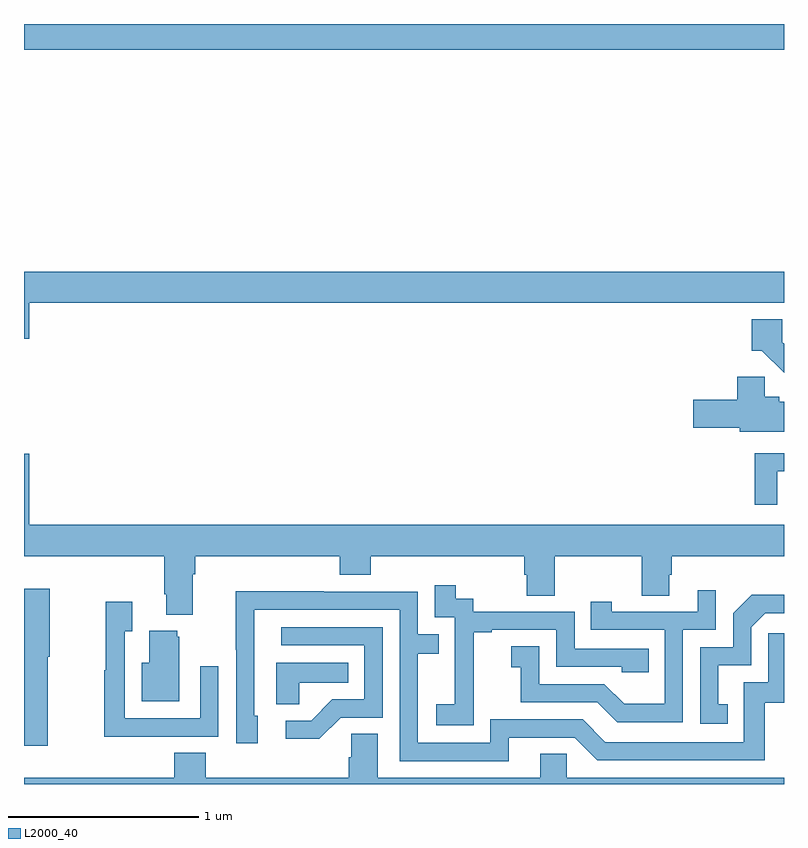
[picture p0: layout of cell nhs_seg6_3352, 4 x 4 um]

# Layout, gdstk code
import gdstk
lib = gdstk.Library(unit=1e-6, precision=1e-09)
def R(c, l, rs):  # rectangles x0, y0, x1, y1
    for r in rs: c.add(gdstk.rectangle(r[:2], r[2:], *l))
def P(c, l, *ps):  # polygons
    for p in ps: c.add(gdstk.Polygon(p, *l))
L2000_40 = (2000, 40)

nhs_seg6_3352 = lib.new_cell('nhs_seg6_3352')
R(nhs_seg6_3352, L2000_40, [(309,919.364,313,919.5)])
P(nhs_seg6_3352, L2000_40, [(309.028,918.032),(313,918.032),(313,918.196),(309,918.196),(309,917.844),(309.028,917.844)],
  [(313,917.816),(312.99,917.826),(312.99,917.947),(312.83,917.947),(312.83,917.78),(312.883,917.78),(313,917.664)],
  [(313,917.511),(312.975,917.511),(312.975,917.538),(312.899,917.538),(312.899,917.643),(312.755,917.643),(312.755,917.522),(312.522,917.522),(312.522,917.375),(312.767,917.375),(312.767,917.354),(313,917.354)],
  [(312.964,917.145),(313,917.145),(313,917.241),(312.847,917.241),(312.847,916.971),(312.964,916.971)],
  [(309.889,916.604),(309.902,916.604),(309.902,916.7),(310.661,916.7),(310.661,916.601),(310.826,916.601),(310.826,916.7),(311.633,916.7),(311.633,916.602),(311.645,916.602),(311.645,916.492),(311.793,916.492),(311.793,916.7),(312.25,916.7),(312.25,916.492),(312.397,916.492),(312.397,916.602),(312.41,916.602),(312.41,916.7),(313,916.7),(313,916.864),(309.028,916.864),(309.028,917.239),(309,917.239),(309,916.7),(309.737,916.7),(309.737,916.498),(309.749,916.498),(309.749,916.391),(309.889,916.391)],
  [(311.367,916.015),(311.366,916.015),(311.366,916.299),(311.461,916.299),(311.461,916.311),(311.802,916.311),(311.802,916.116),(312.147,916.116),(312.147,916.089),(312.287,916.089),(312.287,916.212),(311.898,916.212),(311.898,916.407),(311.364,916.407),(311.364,916.476),(311.272,916.476),(311.272,916.546),(311.163,916.546),(311.163,916.377),(311.268,916.377),(311.268,916.148),(311.267,916.148),(311.267,915.919),(311.169,915.919),(311.169,915.809),(311.367,915.809)],
  [(309.126,916.17),(309.136,916.17),(309.136,916.528),(309,916.528),(309,915.702),(309.126,915.702)],
  [(312.468,916.311),(312.642,916.311),(312.642,916.519),(312.545,916.519),(312.545,916.407),(312.094,916.407),(312.094,916.459),(311.983,916.459),(311.983,916.311),(312.372,916.311),(312.372,915.922),(312.158,915.922),(312.054,916.026),(311.712,916.026),(311.712,916.225),(311.565,916.225),(311.565,916.115),(311.614,916.115),(311.614,915.93),(312.017,915.93),(312.122,915.825),(312.468,915.825)],
  [(311.551,915.744),(311.898,915.744),(312.018,915.624),(312.898,915.624),(312.898,915.927),(313,915.927),(313,916.294),(312.918,916.294),(312.918,916.035),(312.789,916.035),(312.789,915.72),(312.06,915.72),(311.94,915.84),(311.454,915.84),(311.454,915.717),(311.073,915.717),(311.073,916.186),(311.183,916.186),(311.183,916.287),(311.073,916.287),(311.073,916.512),(310.577,916.512),(310.577,916.514),(310.114,916.514),(310.114,916.207),(310.116,916.207),(310.116,915.714),(310.231,915.714),(310.231,915.858),(310.212,915.858),(310.212,916.416),(310.977,916.416),(310.977,915.621),(311.551,915.621)],
  [(312.704,915.921),(312.655,915.921),(312.655,916.125),(312.828,916.125),(312.828,916.326),(312.9,916.398),(313,916.398),(313,916.496),(312.83,916.496),(312.732,916.398),(312.732,916.221),(312.558,916.221),(312.558,915.816),(312.704,915.816)],
  [(309.707,915.75),(310.023,915.75),(310.023,916.12),(309.927,916.12),(309.927,915.846),(309.531,915.846),(309.531,916.303),(309.571,916.303),(309.571,916.459),(309.43,916.459),(309.43,916.1),(309.423,916.1),(309.423,915.749),(309.707,915.749)],
  [(310.668,915.849),(310.887,915.849),(310.887,916.326),(310.353,916.326),(310.353,916.23),(310.791,916.23),(310.791,915.945),(310.622,915.945),(310.511,915.834),(310.377,915.834),(310.377,915.737),(310.555,915.737)],
  [(309.817,916.275),(309.806,916.275),(309.806,916.306),(309.659,916.306),(309.659,916.138),(309.62,916.138),(309.62,915.935),(309.817,915.935)],
  [(310.449,916.034),(310.706,916.034),(310.706,916.138),(310.328,916.138),(310.328,915.919),(310.449,915.919)],
  [(309.956,915.665),(309.791,915.665),(309.791,915.532),(309,915.532),(309,915.5),(313,915.5),(313,915.532),(311.856,915.532),(311.856,915.659),(311.717,915.659),(311.717,915.532),(310.861,915.532),(310.861,915.764),(310.722,915.764),(310.722,915.641),(310.709,915.641),(310.709,915.532),(309.956,915.532)])

lib.write_gds('nhs_seg6_3352.gds')
